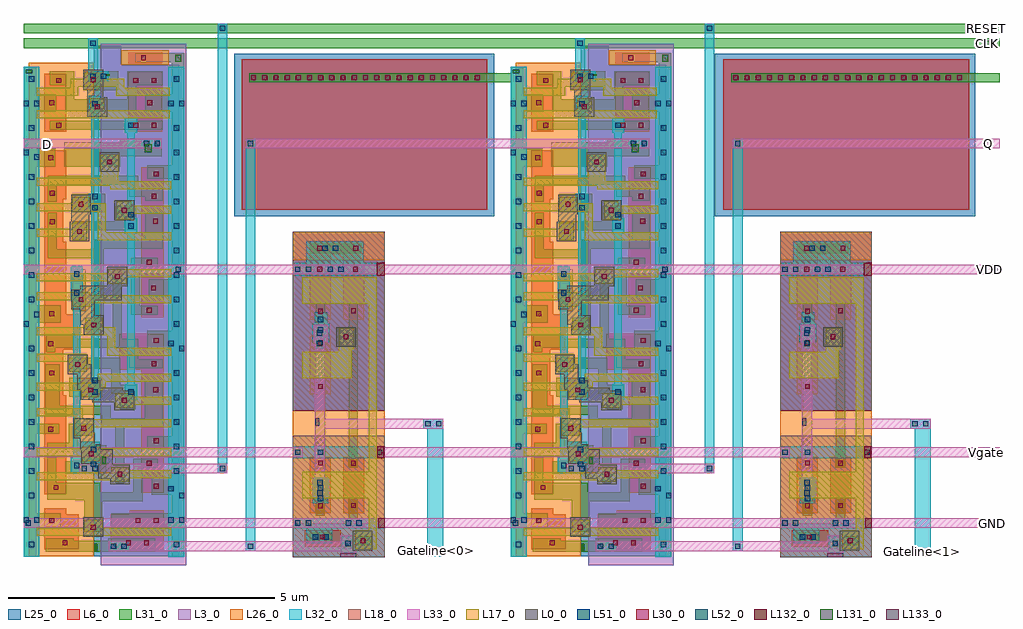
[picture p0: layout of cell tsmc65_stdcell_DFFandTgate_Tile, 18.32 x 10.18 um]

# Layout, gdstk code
from math import pi, radians
import gdstk
lib = gdstk.Library(unit=1e-6, precision=1e-09)
def R(c, l, rs):  # rectangles x0, y0, x1, y1
    for r in rs: c.add(gdstk.rectangle(r[:2], r[2:], *l))
def A(c, l, x, y, w, h, nx, ny, dx, dy):  # array of equal rectangles
    R(c, l, [(x+i*dx, y+j*dy, x+i*dx+w, y+j*dy+h) for i in range(nx) for j in range(ny)])
L0_0 = (0, 0)
L3_0 = (3, 0)
L6_0 = (6, 0)
L17_0 = (17, 0)
L18_0 = (18, 0)
L25_0 = (25, 0)
L26_0 = (26, 0)
L30_0 = (30, 0)
L31_0 = (31, 0)
L32_0 = (32, 0)
L33_0 = (33, 0)
L51_0 = (51, 0)
L52_0 = (52, 0)
L131_0 = (131, 0)
L132_0 = (132, 0)
L133_0 = (133, 0)

sky130_fd_sc_hd__dfrtp_1 = lib.new_cell('sky130_fd_sc_hd__dfrtp_1_fix')
R(sky130_fd_sc_hd__dfrtp_1, L0_0, [(5.405,0.685,5.775,0.855), (2.91,0.715,3.28,0.745), (2.4,0.745,3.28,1.085), (4.185,0.745,4.555,0.915), (6.605,0.795,6.975,0.915), (5.405,0.855,6.07,0.925), (4.11,0.915,4.85,0.985), (6.605,0.915,7.19,0.935), (5.405,0.925,6.255,1.055), (6.605,0.935,7.455,1.165), (0.06,0.975,0.43,1.05), (8.46,0.975,8.83,1.345), (4.11,0.985,5.035,1.185), (0.06,1.05,0.94,1.345), (5.59,1.055,6.255,1.125), (2.4,1.085,2.77,1.115), (5.885,1.125,6.255,1.14), (5.885,1.14,6.305,1.295), (6.87,1.165,7.455,1.185), (4.11,1.185,4.385,1.425), (4.665,1.185,5.035,1.355), (7.085,1.185,7.455,1.255), (7.085,1.255,7.74,1.305), (1.605,1.28,1.975,1.65), (6.03,1.295,6.305,1.555), (7.185,1.305,7.74,1.475), (0.57,1.345,0.94,1.42), (3.755,1.425,4.385,1.695), (7.185,1.475,7.84,1.525), (7.47,1.525,7.84,1.845), (2.51,1.555,2.88,1.925), (6.03,1.555,6.45,1.71), (3.755,1.695,4.125,1.795), (6.08,1.71,6.45,1.925)])
R(sky130_fd_sc_hd__dfrtp_1, L3_0, [(-0.435,1.305,9.365,2.91)])
R(sky130_fd_sc_hd__dfrtp_1, L6_0, [(0.135,0.235,1.225,0.655), (1.565,0.235,8.025,0.595), (8.295,0.235,9.065,0.655), (1.565,0.595,2.49,0.655), (3.285,0.595,5.315,0.655), (6.165,0.595,8.025,0.655), (4.645,0.655,5.315,0.875), (8.405,0.655,9.065,0.885), (8.405,1.485,9.065,1.845), (5.015,1.645,5.695,2.065), (-0.275,1.815,-0.06,2.455), (0.095,1.815,1.225,2.455), (8.325,1.845,9.065,2.485), (1.89,2.065,4.7,2.485), (5.015,2.065,8,2.485)])
R(sky130_fd_sc_hd__dfrtp_1, L17_0, [(0.395,0.095,0.545,0.73), (0.815,0.095,0.965,1.1), (2.09,0.095,2.24,1.3), (2.565,0.095,2.715,0.765), (3.045,0.095,3.195,0.765), (3.875,0.095,4.025,1.445), (4.235,0.095,4.385,0.765), (4.895,0.095,5.045,1.005), (5.39,0.095,5.54,0.705), (5.935,0.095,6.085,0.945), (6.415,0.095,6.565,0.815), (7.16,0.095,7.31,0.955), (7.615,0.095,7.765,1.495), (8.655,0.095,8.805,0.995), (5.39,0.705,5.725,1.035), (0.23,0.73,0.545,0.88), (2.45,0.765,2.72,1.095), (2.93,0.765,3.26,1.035), (4.235,0.765,4.505,1.095), (6.415,0.815,6.925,0.965), (0.23,0.88,0.38,0.995), (5.935,0.945,6.205,1.185), (7.135,0.955,7.405,1.285), (6.62,0.965,6.925,1.145), (0.11,0.995,0.38,1.325), (8.51,0.995,8.805,1.325), (4.715,1.005,5.045,1.335), (2.565,1.095,2.72,1.245), (4.29,1.095,4.44,2.625), (0.59,1.1,0.965,1.37), (6.62,1.145,6.77,2.625), (5.875,1.185,6.205,1.245), (2.565,1.245,3.255,1.395), (5.77,1.245,6.205,1.275), (5.77,1.275,6.085,1.335), (7.16,1.285,7.31,2.625), (1.655,1.3,2.24,1.48), (0.23,1.325,0.38,1.59), (8.655,1.325,8.805,2.625), (4.895,1.335,5.045,1.42), (5.77,1.335,6.02,1.395), (0.815,1.37,0.965,2.595), (3.105,1.395,3.255,2.625), (5.77,1.395,5.92,2.625), (4.895,1.42,5.425,1.57), (3.805,1.445,4.08,1.775), (1.655,1.48,2.3,1.63), (7.52,1.495,7.79,1.825), (5.275,1.57,5.425,2.625), (6.13,1.575,6.4,1.905), (0.23,1.59,0.545,1.74), (2.53,1.605,2.86,1.875), (2.15,1.63,2.3,2.625), (0.395,1.74,0.545,2.595), (3.805,1.775,3.955,2.625), (7.58,1.825,7.73,2.625), (2.61,1.875,2.76,2.625), (6.2,1.905,6.35,2.625)])
R(sky130_fd_sc_hd__dfrtp_1, L25_0, [(-0.395,1.165,0.095,1.69), (-0.035,1.165,1.35,2.775), (1.35,1.165,9.195,2.775), (8.28,1.36,9.195,1.72), (4.89,1.52,5.82,1.94), (8.2,1.72,9.195,1.94)])
R(sky130_fd_sc_hd__dfrtp_1, L26_0, [(-0.07,-0.055,9.195,1.165), (0.095,0.72,2.615,0.78), (3.16,0.72,5.44,0.78), (6.04,0.72,9.19,0.78), (4.52,0.78,5.44,1), (8.28,0.78,9.19,1.01), (-0.305,1.69,-0.035,2.58)])
R(sky130_fd_sc_hd__dfrtp_1, L30_0, [(1.665,0.315,1.755,0.405), (5.155,0.315,5.245,0.405), (6.765,0.315,6.855,0.405), (0.635,0.335,0.725,0.425), (4.595,0.335,4.685,0.425), (5.705,0.335,5.795,0.425), (8.475,0.335,8.565,0.425), (2.33,0.345,2.42,0.435), (2.865,0.345,2.955,0.435), (7.855,0.415,7.945,0.505), (0.215,0.465,0.305,0.555), (1.055,0.465,1.145,0.555), (8.895,0.585,8.985,0.675), (5.545,0.825,5.635,0.915), (3.05,0.855,3.14,0.945), (2.54,0.885,2.63,0.975), (4.325,0.885,4.415,0.975), (6.745,0.935,6.835,1.025), (6.025,1.065,6.115,1.155), (7.225,1.075,7.315,1.165), (0.2,1.115,0.29,1.205), (8.6,1.115,8.69,1.205), (4.805,1.125,4.895,1.215), (0.71,1.19,0.8,1.28), (1.745,1.42,1.835,1.51), (3.895,1.565,3.985,1.655), (7.61,1.615,7.7,1.705), (2.65,1.695,2.74,1.785), (6.22,1.695,6.31,1.785), (8.895,1.775,8.985,1.865), (0.215,1.915,0.305,2.005), (1.055,1.915,1.145,2.005), (8.475,1.955,8.565,2.045), (-0.21,2.06,-0.12,2.15), (8.895,2.115,8.985,2.205), (3.625,2.165,3.715,2.255), (4.53,2.165,4.62,2.255), (7.4,2.165,7.49,2.255), (0.635,2.175,0.725,2.265), (4.11,2.245,4.2,2.335), (0.215,2.255,0.305,2.345), (1.055,2.255,1.145,2.345), (2.39,2.255,2.48,2.345), (5.535,2.255,5.625,2.345), (2.855,2.285,2.945,2.375), (6.02,2.29,6.11,2.38), (1.97,2.295,2.06,2.385), (5.095,2.295,5.185,2.385), (6.98,2.295,7.07,2.385), (7.83,2.295,7.92,2.385), (8.475,2.295,8.565,2.385)])
R(sky130_fd_sc_hd__dfrtp_1, L31_0, [(0,-0.15,9.2,0.085), (0.515,0.085,0.845,0.465), (1.545,0.085,1.875,0.445), (4.475,0.085,4.805,0.545), (6.705,0.085,6.895,0.525), (8.38,0.085,8.685,0.545), (5.585,0.255,6.535,0.535), (8.855,0.265,9.11,0.795), (5.015,0.275,5.365,0.445), (7.065,0.295,8.135,0.465), (2.045,0.305,2.54,0.475), (2.745,0.305,3.6,0.475), (0.09,0.345,0.345,0.635), (1.015,0.345,1.185,2.465), (5.015,0.445,5.275,0.835), (7.065,0.465,7.235,0.695), (7.815,0.465,8.135,0.82), (2.045,0.475,2.215,1.835), (3.43,0.475,3.6,1.185), (6.365,0.535,6.535,1.315), (1.415,0.615,1.875,1.665), (0.09,0.635,0.84,0.805), (7.405,0.635,7.645,1.035), (6.705,0.695,7.235,0.865), (5.465,0.705,5.675,1.495), (5.845,0.705,6.195,1.325), (2.385,0.765,2.735,1.385), (2.905,0.765,3.26,0.985), (3.805,0.765,4.595,1.015), (8.9,0.795,9.11,1.445), (0.61,0.805,0.84,1.795), (7.815,0.82,8.14,0.995), (5.105,0.835,5.275,1.525), (6.705,0.865,6.925,1.145), (0.09,0.975,0.44,1.625), (2.905,0.985,3.075,1.575), (7.815,0.995,8.73,1.295), (4.765,1.005,4.935,1.185), (7.105,1.035,7.645,1.405), (3.245,1.185,4.935,1.355), (7.99,1.295,8.73,1.325), (6.365,1.315,6.77,1.485), (7.99,1.325,8.16,1.915), (3.245,1.355,3.415,2.135), (8.855,1.445,9.11,2.325), (6.6,1.485,6.77,1.575), (5.465,1.495,6.14,1.655), (8.38,1.495,8.685,2.635), (3.775,1.525,5.275,1.695), (2.61,1.575,3.075,1.965), (6.6,1.575,7.82,1.745), (5.465,1.655,6.43,1.665), (1.355,1.665,1.68,2.45), (5.97,1.665,6.43,1.955), (5.105,1.695,5.275,1.835), (6.6,1.745,6.77,2.125), (0.09,1.795,0.84,1.965), (2.045,1.835,2.44,2.005), (5.105,1.835,5.665,2.005), (3.585,1.865,4.66,2.035), (7.36,1.915,8.16,2.085), (-0.25,1.94,-0.08,2.635), (0.09,1.965,0.345,2.465), (2.27,2.005,2.44,2.135), (5.495,2.005,5.665,2.465), (3.585,2.035,3.755,2.375), (4.49,2.035,4.66,2.375), (7.36,2.085,7.53,2.375), (5.9,2.125,6.77,2.465), (0.515,2.135,0.845,2.635), (2.27,2.135,2.52,2.465), (2.735,2.135,3.415,2.465), (1.85,2.175,2.1,2.635), (4.955,2.175,5.325,2.635), (6.94,2.175,7.19,2.635), (3.99,2.205,4.32,2.635), (7.71,2.255,8.04,2.635), (-0.25,2.635,9.2,2.87)])
R(sky130_fd_sc_hd__dfrtp_1, L32_0, [(0,-0.15,9.2,0.15), (3.745,0.735,4.395,0.78), (7.345,0.735,7.635,0.78), (3.745,0.78,7.635,0.92), (3.745,0.92,4.395,0.965), (7.045,0.92,7.635,0.965), (7.045,0.965,7.635,1.28), (0.55,1.075,0.84,1.12), (2.385,1.075,2.675,1.12), (5.965,1.075,6.255,1.12), (0.55,1.12,6.255,1.26), (0.55,1.26,0.84,1.305), (2.385,1.26,2.675,1.305), (5.965,1.26,6.255,1.305), (0.955,1.755,1.245,1.8), (2.845,1.755,3.135,1.8), (5.965,1.755,6.255,1.8), (0.955,1.8,6.255,1.94), (0.955,1.94,1.245,1.985), (2.845,1.94,3.135,1.985), (5.965,1.94,6.255,1.985), (0,2.57,9.2,2.87)])
A(sky130_fd_sc_hd__dfrtp_1, L51_0, 0.18, -0.05, 0.1, 0.1, 3, 1, 0.92, 0)
A(sky130_fd_sc_hd__dfrtp_1, L51_0, 2.48, -0.05, 0.1, 0.1, 5, 1, 0.46, 0)
A(sky130_fd_sc_hd__dfrtp_1, L51_0, 5.24, -0.05, 0.1, 0.1, 7, 1, 0.46, 0)
A(sky130_fd_sc_hd__dfrtp_1, L51_0, 1.1, 2.67, 0.1, 0.1, 9, 1, 0.46, 0)
A(sky130_fd_sc_hd__dfrtp_1, L51_0, 5.7, 2.67, 0.1, 0.1, 5, 1, 0.46, 0)
R(sky130_fd_sc_hd__dfrtp_1, L51_0, [(0.64,-0.15,0.74,-0.05), (1.56,-0.15,1.66,-0.05), (4.78,-0.15,4.88,-0.05), (8.46,-0.15,8.56,-0.05), (8.92,-0.05,9.02,0.05), (0.64,0.05,0.74,0.15), (1.645,0.05,1.745,0.15), (4.605,0.05,4.705,0.15), (8.46,0.05,8.56,0.15), (3.84,0.8,3.94,0.9), (4.2,0.8,4.3,0.9), (7.44,0.8,7.54,0.9), (7.14,1.115,7.24,1.215), (7.415,1.115,7.515,1.215), (0.645,1.14,0.745,1.24), (2.385,1.14,2.485,1.24), (2.6,1.14,2.7,1.24), (5.845,1.14,5.945,1.24), (6.06,1.14,6.16,1.24), (1.05,1.82,1.15,1.92), (2.73,1.82,2.83,1.92), (2.94,1.82,3.04,1.92), (6.06,1.82,6.16,1.92), (0.64,2.57,0.74,2.67), (5.145,2.57,5.245,2.67), (7.875,2.57,7.975,2.67), (8.46,2.57,8.56,2.67), (0.18,2.67,0.28,2.77), (8.92,2.67,9.02,2.77), (0.64,2.77,0.74,2.87), (5.24,2.77,5.34,2.87), (8,2.77,8.1,2.87), (8.46,2.77,8.56,2.87)])
R(sky130_fd_sc_hd__dfrtp_1, L131_0, [(0.055,-0.11,0.12,0.01), (8.955,1.185,9.085,1.235), (7.325,1.33,7.465,1.39), (0.145,1.4,0.175,1.465), (1.46,2.125,1.61,2.255), (-0.225,2.695,-0.095,2.815)])
sky130_fd_sc_hd__dfrtp_1.add(gdstk.Label('VPWR', (-0.18,2.76), layer=131, texttype=0))
sky130_fd_sc_hd__dfrtp_1.add(gdstk.Label('D', (1.54,2.18), layer=131, texttype=0))
sky130_fd_sc_hd__dfrtp_1.add(gdstk.Label('Q', (9.01,1.21), layer=131, texttype=0))
sky130_fd_sc_hd__dfrtp_1.add(gdstk.Label('CLK_IN', (0.155,1.44), layer=131, texttype=0))
sky130_fd_sc_hd__dfrtp_1.add(gdstk.Label('VSUBS', (0.09,-0.04), layer=131, texttype=0))
sky130_fd_sc_hd__dfrtp_1.add(gdstk.Label('RESET_B', (7.39,1.35), layer=131, texttype=0))

m1_od_cdns_664983083225 = lib.new_cell('M1_OD_CDNS_664983083225')
R(m1_od_cdns_664983083225, L6_0, [(-0.075,-0.075,0.075,0.075)])
R(m1_od_cdns_664983083225, L30_0, [(-0.045,-0.045,0.045,0.045)])
R(m1_od_cdns_664983083225, L31_0, [(-0.085,-0.085,0.085,0.085)])

m1_po_cdns_664983083226 = lib.new_cell('M1_PO_CDNS_664983083226')
R(m1_po_cdns_664983083226, L17_0, [(-0.085,-0.085,0.085,0.085)])
R(m1_po_cdns_664983083226, L30_0, [(-0.045,-0.045,0.045,0.045)])
R(m1_po_cdns_664983083226, L31_0, [(-0.085,-0.085,0.085,0.085)])

m2_m1_cdns_664983083227 = lib.new_cell('M2_M1_CDNS_664983083227')
R(m2_m1_cdns_664983083227, L31_0, [(-0.09,-0.19,0.09,0.19)])
R(m2_m1_cdns_664983083227, L32_0, [(-0.09,-0.19,0.09,0.19)])
R(m2_m1_cdns_664983083227, L51_0, [(-0.05,-0.15,0.05,-0.05), (-0.05,0.05,0.05,0.15)])

m2_m1_cdns_664983083223 = lib.new_cell('M2_M1_CDNS_664983083223')
R(m2_m1_cdns_664983083223, L31_0, [(-0.19,-0.09,0.19,0.09)])
R(m2_m1_cdns_664983083223, L32_0, [(-0.19,-0.09,0.19,0.09)])
R(m2_m1_cdns_664983083223, L51_0, [(-0.15,-0.05,-0.05,0.05), (0.05,-0.05,0.15,0.05)])

m2_m1_cdns_664983083220 = lib.new_cell('M2_M1_CDNS_664983083220')
R(m2_m1_cdns_664983083220, L31_0, [(-0.09,-0.09,0.09,0.09)])
R(m2_m1_cdns_664983083220, L32_0, [(-0.09,-0.09,0.09,0.09)])
R(m2_m1_cdns_664983083220, L51_0, [(-0.05,-0.05,0.05,0.05)])

m3_m2_cdns_664983083221 = lib.new_cell('M3_M2_CDNS_664983083221')
R(m3_m2_cdns_664983083221, L32_0, [(-0.09,-0.09,0.09,0.09)])
R(m3_m2_cdns_664983083221, L33_0, [(-0.09,-0.09,0.09,0.09)])
R(m3_m2_cdns_664983083221, L52_0, [(-0.05,-0.05,0.05,0.05)])

m3_m2_cdns_664983083222 = lib.new_cell('M3_M2_CDNS_664983083222')
R(m3_m2_cdns_664983083222, L32_0, [(-0.19,-0.09,0.19,0.09)])
R(m3_m2_cdns_664983083222, L33_0, [(-0.19,-0.09,0.19,0.09)])
R(m3_m2_cdns_664983083222, L52_0, [(-0.15,-0.05,-0.05,0.05), (0.05,-0.05,0.15,0.05)])

sky130_hilas_tgatevinj01 = lib.new_cell('sky130_hilas_TgateVinj01d3')
R(sky130_hilas_tgatevinj01, L0_0, [(-0.53,0.38,-0.16,0.75), (3.295,0.69,3.665,1.06)])
R(sky130_hilas_tgatevinj01, L3_0, [(-2.32,-0.43,1.04,1.29)])
R(sky130_hilas_tgatevinj01, L6_0, [(3.285,-0.21,3.595,0.47), (-2.14,-0.12,-1.77,0.28), (-1.77,-0.12,-0.67,0.28), (-0.37,-0.12,0.73,0.28), (1.905,-0.12,2.965,0.28), (-2.14,0.25,-1.895,0.55), (-2.14,0.51,-1.77,0.91), (-1.77,0.51,-0.67,0.91), (1.905,0.51,2.965,0.91)])
R(sky130_hilas_tgatevinj01, L17_0, [(-1.47,-0.26,-0.97,0.99), (-0.07,-0.26,0.43,0.43), (2.185,-0.26,2.685,0.99), (-0.51,0.43,0.43,0.67), (-0.51,0.67,-0.11,0.71), (3.285,0.74,3.645,0.99), (-1.47,0.99,3.645,1.14)])
R(sky130_hilas_tgatevinj01, L18_0, [(-2.32,-0.43,1.04,1.29), (1.51,-0.43,3.795,1.29)])
R(sky130_hilas_tgatevinj01, L25_0, [(-1.79,-0.43,1.04,0.365), (3.16,-0.43,3.795,1.29), (-1.79,0.365,1.04,0.585), (-1.79,0.585,1.04,1.29)])
R(sky130_hilas_tgatevinj01, L26_0, [(-2.32,-0.43,-1.79,1.29), (1.04,-0.43,3.16,1.29)])
R(sky130_hilas_tgatevinj01, L31_0, [(-2.1,-0.12,-1.92,0.86), (3.32,-0.12,3.5,0.3), (-1.705,-0.07,-1.525,0.86), (2.4,-0.03,2.445,-0.005), (2.445,-0.03,2.78,0), (-1,-0.005,-0.04,0.175), (0.41,-0.005,2.13,0.175), (2.445,0,3.015,0.17), (2.445,0.17,2.78,0.21), (2.4,0.175,2.445,0.21), (-0.52,0.44,-0.18,0.62), (3.395,0.48,3.565,0.52), (3.565,0.48,3.625,0.515), (3.395,0.52,3.625,0.69), (-1,0.62,1.96,0.79), (2.665,0.62,3.24,0.79), (3.395,0.69,3.565,1.04)])
R(sky130_hilas_tgatevinj01, L32_0, [(-1.74,-0.43,-1.49,-0.18), (1.705,-0.43,1.935,1.29), (3.055,-0.43,3.245,-0.18), (-2.14,-0.18,-2.13,-0.11), (-2.13,-0.18,-1.49,-0.11), (3.055,-0.18,3.525,0.31), (-2.14,-0.11,-1.49,0.25), (-0.59,-0.07,-0.25,-0.02), (2.295,-0.06,2.665,-0.04), (2.665,-0.06,2.715,-0.04), (2.715,-0.06,2.78,-0.005), (2.295,-0.04,2.715,0.22), (-0.81,-0.02,-0.25,0), (-0.81,0,-0.13,0.17), (-0.81,0.17,-0.25,0.21), (2.715,0.175,2.78,0.23), (-0.59,0.21,-0.25,0.25), (2.295,0.22,2.665,0.23), (2.665,0.22,2.715,0.23), (-2.14,0.25,-2.13,0.89), (-2.13,0.25,-1.49,0.89), (3.055,0.31,3.245,1.29), (3.385,0.47,3.705,0.75), (-1.74,0.89,-1.49,1.29)])
R(sky130_hilas_tgatevinj01, L33_0, [(2.295,-0.07,2.615,-0.02), (2.615,-0.07,2.675,-0.015), (-0.57,-0.04,-0.25,-0.02), (-0.57,-0.02,2.615,0.17), (2.615,0.165,2.675,0.25), (-0.57,0.17,-0.25,0.22), (2.295,0.17,2.615,0.25), (3.375,0.46,3.795,0.69), (3.375,0.69,3.715,0.76), (3.715,0.69,3.795,0.76)])
R(sky130_hilas_tgatevinj01, L132_0, [(-1.74,1.14,-1.49,1.29), (1.71,1.15,1.93,1.28), (3.06,1.17,3.24,1.29)])
R(sky130_hilas_tgatevinj01, L133_0, [(1.18,-0.015,1.32,0.065), (3.72,0.46,3.79,0.76)])
sky130_hilas_tgatevinj01.add(gdstk.Reference(m1_od_cdns_664983083225, (3.41,0.12)))
sky130_hilas_tgatevinj01.add(gdstk.Reference(m1_od_cdns_664983083225, (2.825,0.085)))
sky130_hilas_tgatevinj01.add(gdstk.Reference(m1_od_cdns_664983083225, (2.82,0.705)))
sky130_hilas_tgatevinj01.add(gdstk.Reference(m1_od_cdns_664983083225, (2.02,0.085)))
sky130_hilas_tgatevinj01.add(gdstk.Reference(m1_od_cdns_664983083225, (2.025,0.705)))
sky130_hilas_tgatevinj01.add(gdstk.Reference(m1_od_cdns_664983083225, (0.585,0.085)))
sky130_hilas_tgatevinj01.add(gdstk.Reference(m1_od_cdns_664983083225, (-0.235,0.085)))
sky130_hilas_tgatevinj01.add(gdstk.Reference(m1_od_cdns_664983083225, (-0.835,0.705)))
sky130_hilas_tgatevinj01.add(gdstk.Reference(m1_od_cdns_664983083225, (-0.83,0.085)))
sky130_hilas_tgatevinj01.add(gdstk.Reference(m1_od_cdns_664983083225, (-2.01,0.07)))
sky130_hilas_tgatevinj01.add(gdstk.Reference(m1_od_cdns_664983083225, (-1.615,0.07)))
sky130_hilas_tgatevinj01.add(gdstk.Reference(m1_od_cdns_664983083225, (-2.01,0.75)))
sky130_hilas_tgatevinj01.add(gdstk.Reference(m1_od_cdns_664983083225, (-1.615,0.745)))
sky130_hilas_tgatevinj01.add(gdstk.Reference(m1_po_cdns_664983083226, (3.48,0.885)))
sky130_hilas_tgatevinj01.add(gdstk.Reference(m1_po_cdns_664983083226, (-0.35,0.565)))
sky130_hilas_tgatevinj01.add(gdstk.Reference(m2_m1_cdns_664983083227, (3.41,0.09)))
sky130_hilas_tgatevinj01.add(gdstk.Reference(m2_m1_cdns_664983083227, (-1.615,0.37)))
sky130_hilas_tgatevinj01.add(gdstk.Reference(m2_m1_cdns_664983083227, (-2.01,0.27)))
sky130_hilas_tgatevinj01.add(gdstk.Reference(m2_m1_cdns_664983083227, (3.15,0.71)))
sky130_hilas_tgatevinj01.add(gdstk.Reference(m2_m1_cdns_664983083223, (2.59,0.085)))
sky130_hilas_tgatevinj01.add(gdstk.Reference(m2_m1_cdns_664983083223, (-0.575,0.085)))
sky130_hilas_tgatevinj01.add(gdstk.Reference(m2_m1_cdns_664983083220, (3.535,0.605)))
sky130_hilas_tgatevinj01.add(gdstk.Reference(m2_m1_cdns_664983083220, (1.82,0.085)))
sky130_hilas_tgatevinj01.add(gdstk.Reference(m3_m2_cdns_664983083221, (3.53,0.605)))
sky130_hilas_tgatevinj01.add(gdstk.Reference(m3_m2_cdns_664983083222, (2.485,0.075)))
sky130_hilas_tgatevinj01.add(gdstk.Reference(m3_m2_cdns_664983083222, (-0.32,0.07)))
sky130_hilas_tgatevinj01.add(gdstk.Label('select', (3.76,0.62), layer=133, texttype=0))
sky130_hilas_tgatevinj01.add(gdstk.Label('drain', (1.25,-0.005), layer=133, texttype=0))
sky130_hilas_tgatevinj01.add(gdstk.Label('drainRail', (1.82,1.21), layer=132, texttype=0))
sky130_hilas_tgatevinj01.add(gdstk.Label('gnd', (3.15,1.23), layer=132, texttype=0))
sky130_hilas_tgatevinj01.add(gdstk.Label('Vinj', (-1.61,1.23), layer=132, texttype=0))

m1_od_cdns_664983083224 = lib.new_cell('M1_OD_CDNS_664983083224')
R(m1_od_cdns_664983083224, L6_0, [(-2.175,-0.075,2.175,0.075)])
A(m1_od_cdns_664983083224, L30_0, -2.145, -0.045, 0.09, 0.09, 21, 1, 0.21, 0)
R(m1_od_cdns_664983083224, L31_0, [(-2.185,-0.085,2.185,0.085)])

tsmc65_stdcell_dffandtga = lib.new_cell('tsmc65_stdcell_DFFandTgate_Tile')
R(tsmc65_stdcell_dffandtga, L6_0, [(4.095,6.525,8.71,9.35), (13.14,6.525,17.755,9.35)])
R(tsmc65_stdcell_dffandtga, L25_0, [(3.955,6.405,8.84,9.455), (12.98,6.405,17.865,9.455)])
R(tsmc65_stdcell_dffandtga, L31_0, [(8.605,8.92,9.38,9.09), (17.655,8.92,18.325,9.09)])
R(tsmc65_stdcell_dffandtga, L32_0, [(7.585,0.015,7.885,2.6), (16.73,0.015,17.03,2.6), (4.175,0.12,4.355,7.86), (13.32,0.12,13.5,7.86), (3.645,1.58,3.825,10.025), (12.79,1.58,12.97,10.025)])
R(tsmc65_stdcell_dffandtga, L33_0, [(1.6,0.12,6.25,0.3), (10.745,0.12,15.395,0.3), (1.25,1.58,3.825,1.76), (10.395,1.58,12.97,1.76), (0,1.885,5.24,2.065), (6.6,1.885,9.145,2.065), (9.145,1.885,14.385,2.065), (15.745,1.885,18.325,2.065), (5.47,2.42,7.885,2.6), (14.615,2.42,17.03,2.6), (0,5.32,18.325,5.5), (0,7.68,2.6,7.86), (4.175,7.68,11.745,7.86), (13.32,7.68,18.325,7.86)])
R(tsmc65_stdcell_dffandtga, L131_0, [(18.02,9.6,18.2,9.7), (18.05,9.88,18.255,9.995)])
R(tsmc65_stdcell_dffandtga, L132_0, [(16.805,0.085,16.95,0.14), (7.65,0.09,7.84,0.155)])
R(tsmc65_stdcell_dffandtga, L133_0, [(18.125,0.595,18.28,0.705), (18.01,1.93,18.175,2.02), (18.145,5.36,18.295,5.46), (0.395,7.705,0.53,7.83), (18.06,7.73,18.18,7.815)])
tsmc65_stdcell_dffandtga.add(gdstk.FlexPath([(10.45,8.99),(10.45,9.745)], 0.18, ends="flush", simple_path=True, layer=32, datatype=0))  # L32_0
tsmc65_stdcell_dffandtga.add(gdstk.FlexPath([(1.305,8.99),(1.305,9.745)], 0.18, ends="flush", simple_path=True, layer=32, datatype=0))  # L32_0
tsmc65_stdcell_dffandtga.add(gdstk.FlexPath([(18.325,0.645),(0,0.645)], 0.18, ends="flush", simple_path=True, layer=33, datatype=0))  # L33_0
tsmc65_stdcell_dffandtga.add(gdstk.FlexPath([(0,9.935),(18.325,9.935)], 0.18, ends="flush", simple_path=True, layer=31, datatype=0))  # L31_0
tsmc65_stdcell_dffandtga.add(gdstk.FlexPath([(0,9.655),(18.325,9.655)], 0.18, ends="flush", simple_path=True, layer=31, datatype=0))  # L31_0
tsmc65_stdcell_dffandtga.add(gdstk.Reference(sky130_fd_sc_hd__dfrtp_1, (9.295,9.215), rotation=3*pi/2))
tsmc65_stdcell_dffandtga.add(gdstk.Reference(sky130_fd_sc_hd__dfrtp_1, (0.15,9.215), rotation=3*pi/2))
tsmc65_stdcell_dffandtga.add(gdstk.Reference(sky130_hilas_tgatevinj01, (14.635,3.795), rotation=3*pi/2))
tsmc65_stdcell_dffandtga.add(gdstk.Reference(sky130_hilas_tgatevinj01, (5.49,3.795), rotation=3*pi/2))
tsmc65_stdcell_dffandtga.add(gdstk.Reference(m2_m1_cdns_664983083220, (12.88,9.935)))
tsmc65_stdcell_dffandtga.add(gdstk.Reference(m2_m1_cdns_664983083220, (3.735,9.935)))
tsmc65_stdcell_dffandtga.add(gdstk.Reference(m2_m1_cdns_664983083220, (10.45,9.655)))
tsmc65_stdcell_dffandtga.add(gdstk.Reference(m2_m1_cdns_664983083220, (1.305,9.655)))
tsmc65_stdcell_dffandtga.add(gdstk.Reference(m3_m2_cdns_664983083221, (12.88,1.67)))
tsmc65_stdcell_dffandtga.add(gdstk.Reference(m3_m2_cdns_664983083221, (10.485,1.67)))
tsmc65_stdcell_dffandtga.add(gdstk.Reference(m3_m2_cdns_664983083221, (3.735,1.67)))
tsmc65_stdcell_dffandtga.add(gdstk.Reference(m3_m2_cdns_664983083221, (13.41,7.77)))
tsmc65_stdcell_dffandtga.add(gdstk.Reference(m3_m2_cdns_664983083221, (4.265,7.77)))
tsmc65_stdcell_dffandtga.add(gdstk.Reference(m3_m2_cdns_664983083221, (2.905,5.41)))
tsmc65_stdcell_dffandtga.add(gdstk.Reference(m3_m2_cdns_664983083221, (12.045,5.41)))
tsmc65_stdcell_dffandtga.add(gdstk.Reference(m3_m2_cdns_664983083221, (15.835,1.975)))
tsmc65_stdcell_dffandtga.add(gdstk.Reference(m3_m2_cdns_664983083221, (14.295,1.975)))
tsmc65_stdcell_dffandtga.add(gdstk.Reference(m3_m2_cdns_664983083221, (13.41,0.21)))
tsmc65_stdcell_dffandtga.add(gdstk.Reference(m3_m2_cdns_664983083221, (9.235,0.645)))
tsmc65_stdcell_dffandtga.add(gdstk.Reference(m3_m2_cdns_664983083221, (6.69,1.975)))
tsmc65_stdcell_dffandtga.add(gdstk.Reference(m3_m2_cdns_664983083221, (5.15,1.975)))
tsmc65_stdcell_dffandtga.add(gdstk.Reference(m3_m2_cdns_664983083221, (4.265,0.21)))
tsmc65_stdcell_dffandtga.add(gdstk.Reference(m3_m2_cdns_664983083221, (0.09,0.645)))
tsmc65_stdcell_dffandtga.add(gdstk.Reference(m3_m2_cdns_664983083222, (10.385,1.67)))
tsmc65_stdcell_dffandtga.add(gdstk.Reference(m3_m2_cdns_664983083222, (1.24,1.67)))
tsmc65_stdcell_dffandtga.add(gdstk.Reference(m3_m2_cdns_664983083222, (2.41,7.77)))
tsmc65_stdcell_dffandtga.add(gdstk.Reference(m3_m2_cdns_664983083222, (11.555,7.77)))
tsmc65_stdcell_dffandtga.add(gdstk.Reference(m3_m2_cdns_664983083222, (5.25,5.41)))
tsmc65_stdcell_dffandtga.add(gdstk.Reference(m3_m2_cdns_664983083222, (14.4,5.41)))
tsmc65_stdcell_dffandtga.add(gdstk.Reference(m3_m2_cdns_664983083222, (16.84,2.51)))
tsmc65_stdcell_dffandtga.add(gdstk.Reference(m3_m2_cdns_664983083222, (10.935,0.21)))
tsmc65_stdcell_dffandtga.add(gdstk.Reference(m3_m2_cdns_664983083222, (14.395,0.645)))
tsmc65_stdcell_dffandtga.add(gdstk.Reference(m3_m2_cdns_664983083222, (7.695,2.51)))
tsmc65_stdcell_dffandtga.add(gdstk.Reference(m3_m2_cdns_664983083222, (1.79,0.21)))
tsmc65_stdcell_dffandtga.add(gdstk.Reference(m3_m2_cdns_664983083222, (5.25,0.645)))
tsmc65_stdcell_dffandtga.add(gdstk.Reference(m2_m1_cdns_664983083223, (2.41,7.77)))
tsmc65_stdcell_dffandtga.add(gdstk.Reference(m2_m1_cdns_664983083223, (11.555,7.77)))
tsmc65_stdcell_dffandtga.add(gdstk.Reference(m2_m1_cdns_664983083223, (10.55,9.035)))
tsmc65_stdcell_dffandtga.add(gdstk.Reference(m2_m1_cdns_664983083223, (10.935,0.21)))
tsmc65_stdcell_dffandtga.add(gdstk.Reference(m2_m1_cdns_664983083223, (1.79,0.21)))
tsmc65_stdcell_dffandtga.add(gdstk.Reference(m2_m1_cdns_664983083223, (1.405,9.035)))
tsmc65_stdcell_dffandtga.add(gdstk.Reference(m1_od_cdns_664983083224, (15.475,9.005)))
tsmc65_stdcell_dffandtga.add(gdstk.Reference(m1_od_cdns_664983083224, (6.42,9.005)))
tsmc65_stdcell_dffandtga.add(gdstk.Label('Gateline<1>', (16.87,0.115), layer=132, texttype=0))
tsmc65_stdcell_dffandtga.add(gdstk.Label('Gateline<0>', (7.75,0.13), layer=132, texttype=0))
tsmc65_stdcell_dffandtga.add(gdstk.Label('Vgate', (18.09,1.97), layer=133, texttype=0))
tsmc65_stdcell_dffandtga.add(gdstk.Label('D', (0.45,7.755), layer=133, texttype=0))
tsmc65_stdcell_dffandtga.add(gdstk.Label('Q', (18.115,7.775), layer=133, texttype=0))
tsmc65_stdcell_dffandtga.add(gdstk.Label('VDD', (18.145,5.415), layer=133, texttype=0))
tsmc65_stdcell_dffandtga.add(gdstk.Label('GND', (18.195,0.645), layer=133, texttype=0))
tsmc65_stdcell_dffandtga.add(gdstk.Label('CLK', (18.105,9.645), layer=131, texttype=0))
tsmc65_stdcell_dffandtga.add(gdstk.Label('RESET', (18.075,9.935), layer=131, texttype=0))

lib.write_gds('tsmc65_stdcell_DFFandTgate_Tile.gds')
